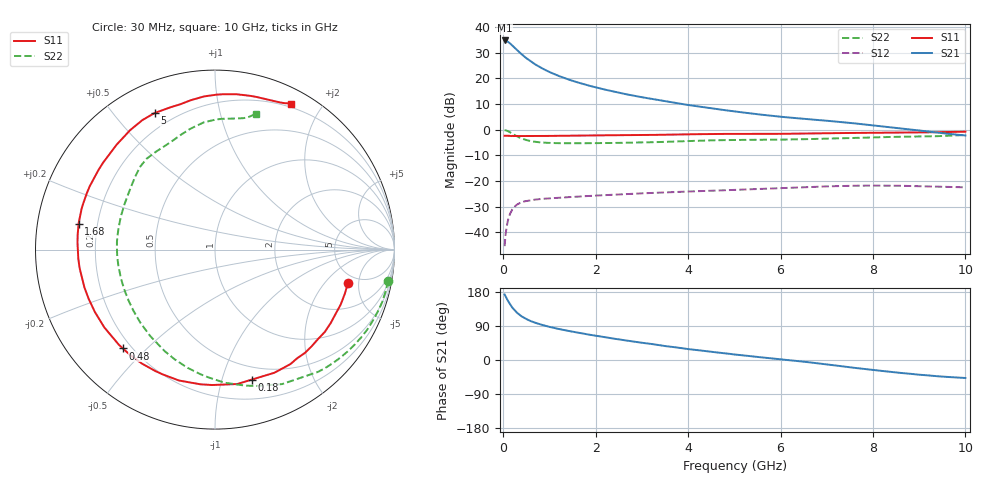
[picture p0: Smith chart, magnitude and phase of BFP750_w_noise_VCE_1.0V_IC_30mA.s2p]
! Infineon Technologies  Discrete & RF Semiconductors
! BFP750
! VCE =  1.0 V,  IC =  30 mA
! Common Emitter S-Parameters:  Jan 2016
# GHz  S  MA  R  50
!  f  S11  S21  S12  S22
! GHz  MAG  ANG  MAG  ANG  MAG  ANG  MAG  ANG
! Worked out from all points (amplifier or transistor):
!   229 points, 30 MHz to 10 GHz, reference 50 ohm
!   highest |S21| = 34.8 dB at 30 MHz (marker M1)
!   |S21| within 3 dB of that: start of sweep to 258 MHz
!   unconditionally stable (mu >= 1): 4.353 GHz to end of sweep
!   at 280 MHz: K = 0.13, MSG = 30.4 dB, |S12| = -29.4 dB
!   at 1.78 GHz: K = 0.61, MSG = 21.7 dB, |S12| = -25.9 dB
!   at 10 GHz: K = 1.12, MAG = 8.0 dB, |S12| = -22.4 dB
!   lowest NFmin = 0.84 dB at 450 MHz
!   S11 on the Smith chart (normalised r, x): 30 MHz: 4.15, -3.66; 180 MHz: 0.38, -1.25; 480 MHz: 0.17, -0.42; 1.68 GHz: 0.13, +0.09; 5 GHz: 0.13, +0.64; 10 GHz: 0.16, +1.63
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0.03  0.7642 -13.9  54.8 172.9  0.0054 83.1  0.9807 -10.3
0.06  0.7611 -28.0  54.18 165.6  0.0105 76.3  0.9707 -20.9
0.1  0.7616 -45.0  51.76 156.6  0.0168 68.9  0.9405 -34.4
0.15  0.7616 -64.3  47.86 146.5  0.0233 60.2  0.8908 -49.9
0.18  0.7527 -74.1  45.12 141.5  0.0262 55.2  0.8528 -57.9
0.2  0.7591 -80.6  43.5 137.8  0.0283 52.5  0.8372 -63.5
0.24  0.7547 -91.2  40.2 132.3  0.0313 47.6  0.7947 -72.9
0.3  0.7565 -105.4  35.65 124.5  0.0349 41.6  0.7434 -85.9
0.4  0.7545 -122.7  29.43 115.0  0.0387 34.4  0.6763 -103.0
0.48  0.7527 -133.0  25.63 109.3  0.0406 30.3  0.6384 -113.8
0.66  0.7524 -149.5  19.61 99.8  0.0432 24.4  0.5879 -132.3
0.9  0.7575 -163.9  14.72 90.6  0.0454 20.1  0.5596 -149.1
1.2  0.7633 -176.4  11.16 81.9  0.0473 17.3  0.5477 -163.3
1.68  0.7731 169.5  8.012 70.8  0.0503 14.8  0.5461 -178.7
1.7  0.7738 169.0  7.915 70.4  0.0504 14.7  0.5463 -179.3
2.4  0.7821 153.3  5.503 56.2  0.0543 11.7  0.5527 164.2
3.4  0.7975 134.9  3.72 38.8  0.0599 7.4  0.5769 146.1
5  0.8321 113.8  2.275 14.6  0.0674 0.2  0.6338 126.9
5.1  0.8312 112.7  2.218 13.4  0.0679 -0.4  0.6339 125.7
6.8  0.8498 96.1  1.549 -8.7  0.0775 -10.2  0.663 107.6
8.4  0.8787 77.2  1.11 -31.6  0.0813 -24.3  0.7243 89.8
10  0.9163 62.6  0.773 -47.5  0.0756 -34.6  0.7908 73.2
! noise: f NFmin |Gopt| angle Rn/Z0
0.45  0.84  0.12  -165  0.43
0.9  0.86  0.17  -162  0.16
1.5  0.87  0.18  -161  0.13
1.9  0.88  0.22  -155  0.08
2.4  0.91  0.26  -148  0.08
3.5  1.14  0.3  -134  0.08
